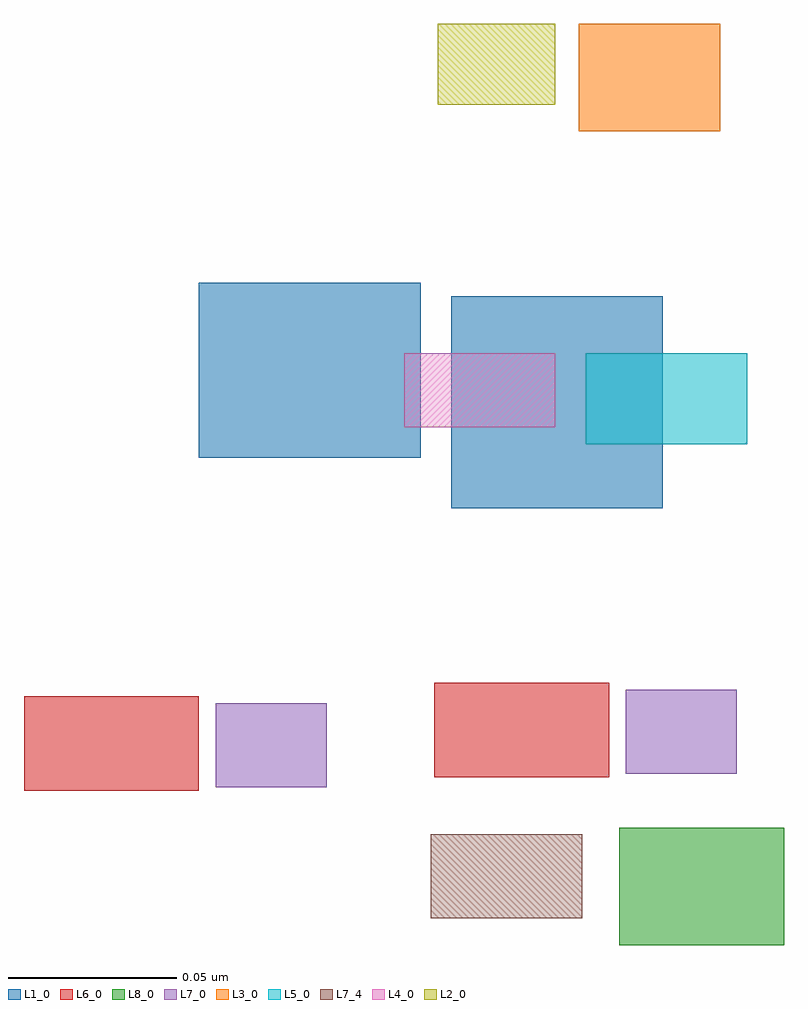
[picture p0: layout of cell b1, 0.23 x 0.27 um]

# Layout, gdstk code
import gdstk
lib = gdstk.Library(unit=1e-6, precision=1e-09)
def R(c, l, rs):  # rectangles x0, y0, x1, y1
    for r in rs: c.add(gdstk.rectangle(r[:2], r[2:], *l))
L1_0 = (1, 0)
L2_0 = (2, 0)
L3_0 = (3, 0)
L4_0 = (4, 0)
L5_0 = (5, 0)
L6_0 = (6, 0)
L7_0 = (7, 0)
L7_4 = (7, 4)
L8_0 = (8, 0)

c_a = lib.new_cell('a')
R(c_a, L2_0, [(-0.122,0.07,-0.087,0.094)])
R(c_a, L3_0, [(-0.08,0.062,-0.038,0.094)])

c_b = lib.new_cell('b')
R(c_b, L4_0, [(-0.127,0.023,-0.082,0.045)])
R(c_b, L5_0, [(-0.073,0.018,-0.025,0.045)])

c_c = lib.new_cell('c')
R(c_c, L6_0, [(-0.122,-0.032,-0.07,-0.004)])
R(c_c, L7_0, [(-0.065,-0.031,-0.032,-0.006)])

c_d = lib.new_cell('d')
R(c_d, L6_0, [(-0.122,-0.032,-0.07,-0.004)])
R(c_d, L7_0, [(-0.065,-0.031,-0.032,-0.006)])
R(c_d, L7_4, [(-0.123,-0.074,-0.078,-0.049)])
R(c_d, L8_0, [(-0.067,-0.082,-0.018,-0.047)])
c_d.add(gdstk.Reference(c_c, (-0.122,-0.004)))

c_b1 = lib.new_cell('b1')
R(c_b1, L1_0, [(-0.24,0.044,-0.177,0.107), (-0.315,0.059,-0.249,0.111)])
c_b1.add(gdstk.Reference(c_a, (-0.122,0.094)))
c_b1.add(gdstk.Reference(c_b, (-0.127,0.045)))
c_b1.add(gdstk.Reference(c_d, (-0.123,-0.004)))

lib.write_gds('b1.gds')
